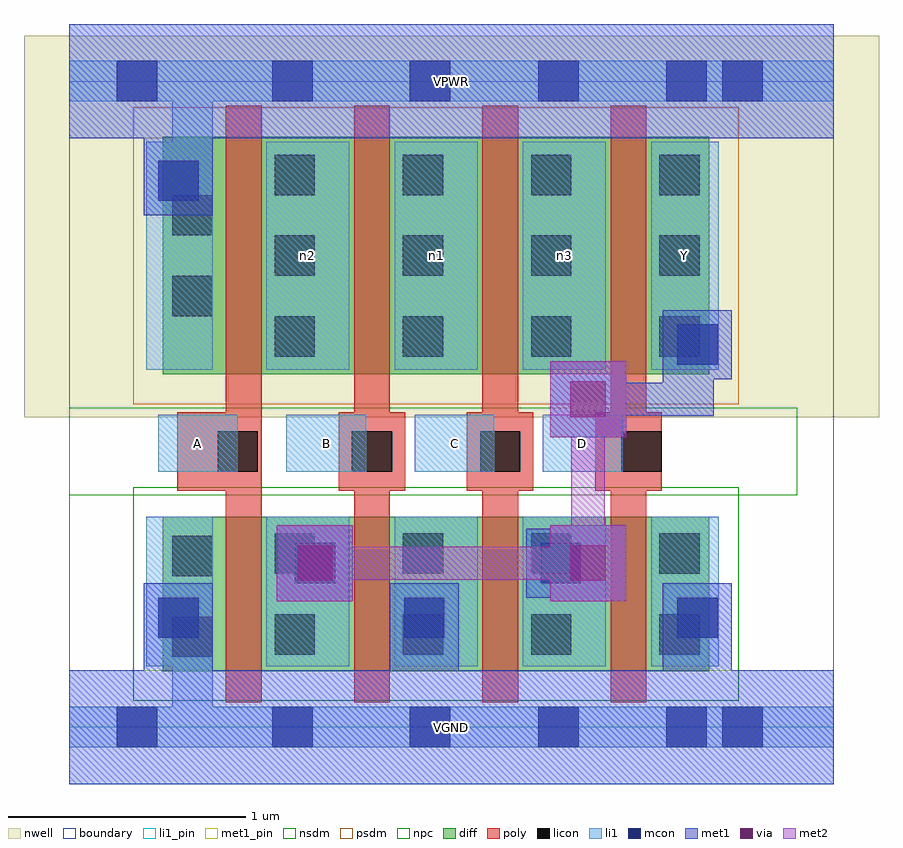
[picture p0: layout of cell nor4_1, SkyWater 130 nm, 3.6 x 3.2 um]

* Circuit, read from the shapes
.subckt nor4_1 A B C D VGND VPWR Y n1 n2 n3
XM1 Y A VGND VSUBS sky130_fd_pr__nfet_01v8 w=0.65 l=0.15
XM2 VGND B Y VSUBS sky130_fd_pr__nfet_01v8 w=0.65 l=0.15
XM3 Y C VGND VSUBS sky130_fd_pr__nfet_01v8 w=0.65 l=0.15
XM4 VGND D Y VSUBS sky130_fd_pr__nfet_01v8 w=0.65 l=0.15
XM5 n2 A VPWR n4 sky130_fd_pr__pfet_01v8 w=1 l=0.15
XM6 n1 B n2 n4 sky130_fd_pr__pfet_01v8 w=1 l=0.15
XM7 n3 C n1 n4 sky130_fd_pr__pfet_01v8 w=1 l=0.15
XM8 Y D n3 n4 sky130_fd_pr__pfet_01v8 w=1 l=0.15
.ends

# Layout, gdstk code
import gdstk
lib = gdstk.Library(unit=1e-6, precision=1e-09)
def R(c, l, rs):  # rectangles x0, y0, x1, y1
    for r in rs: c.add(gdstk.rectangle(r[:2], r[2:], *l))
def A(c, l, x, y, w, h, nx, ny, dx, dy):  # array of equal rectangles
    R(c, l, [(x+i*dx, y+j*dy, x+i*dx+w, y+j*dy+h) for i in range(nx) for j in range(ny)])
nwell = (64, 20)
diff = (65, 20)
poly = (66, 20)
licon = (66, 44)
li1_pin = (67, 16)
li1 = (67, 20)
mcon = (67, 44)
met1_pin = (68, 16)
met1 = (68, 20)
via = (68, 44)
met2 = (69, 20)
nsdm = (93, 44)
psdm = (94, 20)
npc = (95, 20)
boundary = (235, 4)

nor4_1 = lib.new_cell('nor4_1')
R(nor4_1, nwell, [(-0.19,1.305,3.41,2.91), (0,1.305,3.22,2.91)])
R(nor4_1, diff, [(0.395,0.235,2.695,0.885), (0.395,1.485,2.695,2.485)])
A(nor4_1, poly, 0.66, 0.105, 0.15, 2.51, 4, 1, 0.54, 0)
A(nor4_1, poly, 1.135, 0.995, 0.28, 0.33, 3, 1, 0.54, 0)
R(nor4_1, poly, [(0.455,0.995,0.81,1.325)])
A(nor4_1, licon, 0.865, 0.305, 0.17, 0.17, 4, 2, 0.54, 0.34)
A(nor4_1, licon, 0.865, 1.56, 0.17, 0.17, 4, 3, 0.54, 0.34)
R(nor4_1, licon, [(0.435,0.295,0.605,0.465), (0.435,0.635,0.605,0.805), (0.625,1.075,0.795,1.245), (1.19,1.075,1.36,1.245), (1.73,1.075,1.9,1.245), (2.325,1.075,2.495,1.245), (0.435,1.73,0.605,1.9), (0.435,2.07,0.605,2.24)])
A(nor4_1, li1_pin, 0.375, 1.075, 0.335, 0.24, 4, 1, 0.54, 0)
R(nor4_1, li1_pin, [(2.45,1.505,2.735,2.465)])
A(nor4_1, li1, 0.83, 0.255, 0.35, 0.63, 3, 1, 0.54, 0)
A(nor4_1, li1, 0.375, 1.075, 0.335, 0.24, 4, 1, 0.54, 0)
A(nor4_1, li1, 0.83, 1.505, 0.35, 0.96, 3, 1, 0.54, 0)
R(nor4_1, li1, [(0,-0.085,3.22,0.085), (0.435,-0.085,0.605,0.805), (0.325,0.255,0.605,0.885), (2.45,0.255,2.735,0.885), (0.325,1.505,0.605,2.465), (2.45,1.505,2.735,2.465), (0.435,1.73,0.605,2.805), (0,2.635,3.22,2.805)])
A(nor4_1, mcon, 1.435, -0.085, 0.17, 0.17, 3, 2, 0.54, 2.72)
R(nor4_1, mcon, [(0.2,-0.085,0.37,0.085), (0.855,-0.085,1.025,0.085), (2.75,-0.085,2.92,0.085), (0.375,0.375,0.545,0.545), (1.41,0.375,1.58,0.545), (2.56,0.375,2.73,0.545), (0.95,0.605,1.12,0.775), (1.985,0.605,2.155,0.775), (2.56,1.525,2.73,1.695), (0.375,2.215,0.545,2.385), (0.2,2.635,0.37,2.805), (0.855,2.635,1.025,2.805), (2.75,2.635,2.92,2.805)])
R(nor4_1, met1_pin, [(0,-0.24,3.22,0.24), (0,2.48,3.22,2.96)])
R(nor4_1, met1, [(0,-0.24,3.22,0.24), (0.505,-0.07,0.645,0.185), (0.505,-0.07,1.565,0.07), (1.425,-0.07,1.565,0.53), (1.425,-0.07,2.715,0.07), (2.575,-0.07,2.715,0.53), (0.39,0.045,0.53,0.185), (0.39,0.045,0.53,0.53), (0.39,0.045,0.645,0.185), (0.39,0.185,0.605,0.315), (0.505,0.185,0.605,0.315), (0.315,0.24,0.605,0.315), (1.35,0.24,1.64,0.315), (2.5,0.24,2.79,0.315), (0.315,0.315,0.605,0.605), (1.35,0.315,1.64,0.605), (2.5,0.315,2.79,0.605), (0.875,0.53,1.195,0.85), (2.025,0.53,2.345,0.85), (0.89,0.545,1.18,0.835), (1.925,0.545,2.215,0.835), (2,0.62,2.255,0.76), (2.025,1.22,2.345,1.54), (2.115,1.31,2.715,1.45), (2.575,1.31,2.715,1.68), (2.5,1.45,2.715,1.465), (2.5,1.465,2.79,1.755), (0.315,2.155,0.605,2.445), (0.39,2.23,0.53,2.715), (0.315,2.445,0.605,2.48), (0,2.48,3.22,2.96), (0.39,2.575,0.53,2.715)])
R(nor4_1, via, [(0.96,0.615,1.11,0.765), (2.11,0.615,2.26,0.765), (2.11,1.305,2.26,1.455)])
R(nor4_1, met2, [(0.875,0.53,1.195,0.85), (2.025,0.53,2.345,0.85), (0.965,0.62,2.255,0.76), (2.115,0.62,2.255,1.45), (2.025,1.22,2.345,1.54)])
R(nor4_1, nsdm, [(0.27,0.11,2.82,1.01)])
R(nor4_1, psdm, [(0.27,1.36,2.82,2.61)])
R(nor4_1, npc, [(0,0.975,3.065,1.345)])
R(nor4_1, boundary, [(0,0,3.22,2.72)])
nor4_1.add(gdstk.Label('A', (0.542,1.195), layer=67, texttype=5))
nor4_1.add(gdstk.Label('B', (1.082,1.195), layer=67, texttype=5))
nor4_1.add(gdstk.Label('C', (1.622,1.195), layer=67, texttype=5))
nor4_1.add(gdstk.Label('D', (2.162,1.195), layer=67, texttype=5))
nor4_1.add(gdstk.Label('Y', (2.592,1.985), layer=67, texttype=5))
nor4_1.add(gdstk.Label('n2', (1.005,1.985), layer=67, texttype=5))
nor4_1.add(gdstk.Label('n1', (1.545,1.985), layer=67, texttype=5))
nor4_1.add(gdstk.Label('n3', (2.085,1.985), layer=67, texttype=5))
nor4_1.add(gdstk.Label('VPWR', (1.61,2.72), layer=68, texttype=5))
nor4_1.add(gdstk.Label('VGND', (1.61,0), layer=68, texttype=5))
nor4_1.add(gdstk.Label('A', (0.542,1.195), layer=67, texttype=16))
nor4_1.add(gdstk.Label('B', (1.082,1.195), layer=67, texttype=16))
nor4_1.add(gdstk.Label('C', (1.622,1.195), layer=67, texttype=16))
nor4_1.add(gdstk.Label('D', (2.162,1.195), layer=67, texttype=16))
nor4_1.add(gdstk.Label('Y', (2.592,1.985), layer=67, texttype=16))
nor4_1.add(gdstk.Label('VPWR', (1.61,2.72), layer=68, texttype=16))
nor4_1.add(gdstk.Label('VGND', (1.61,0), layer=68, texttype=16))

lib.write_gds('nor4_1.gds')
